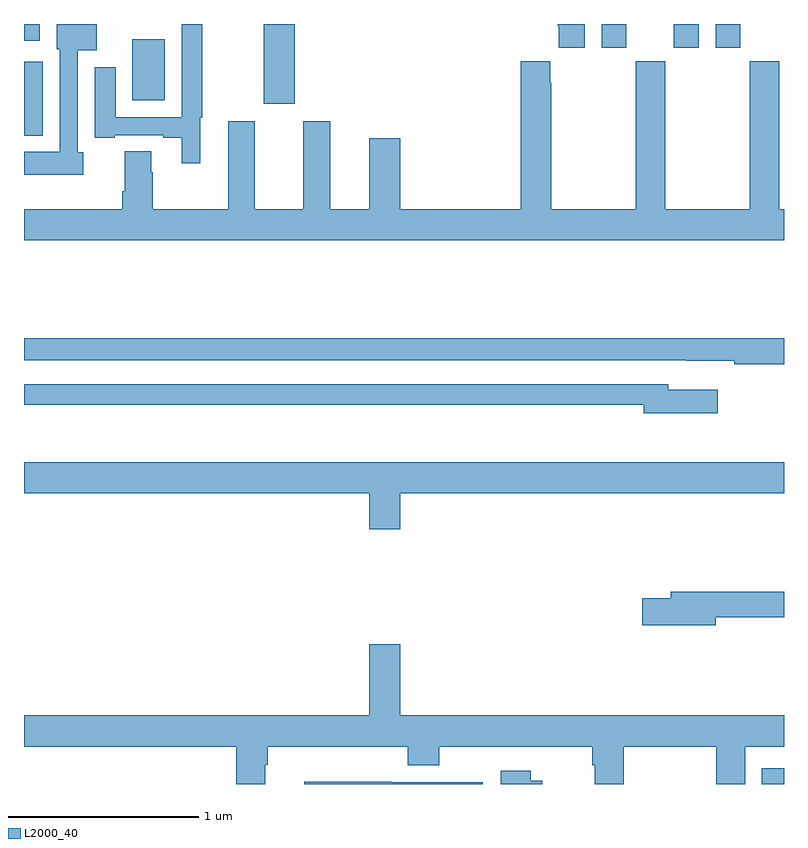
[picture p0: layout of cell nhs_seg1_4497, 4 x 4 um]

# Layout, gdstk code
import gdstk
lib = gdstk.Library(unit=1e-6, precision=1e-09)
def R(c, l, rs):  # rectangles x0, y0, x1, y1
    for r in rs: c.add(gdstk.rectangle(r[:2], r[2:], *l))
def P(c, l, *ps):  # polygons
    for p in ps: c.add(gdstk.Polygon(p, *l))
L2000_40 = (2000, 40)

nhs_seg1_4497 = lib.new_cell('nhs_seg1_4497')
R(nhs_seg1_4497, L2000_40, [(358.884,554.199,359,554.281), (355,557.612,355.099,558.001), (356.261,557.778,356.425,558.199), (355.571,557.798,355.741,558.118), (358.04,558.075,358.171,558.199), (358.421,558.075,358.552,558.199), (358.64,558.075,358.771,558.199), (355,558.111,355.084,558.199)])
P(nhs_seg1_4497, L2000_40, [(355.312,557.523),(355.284,557.523),(355.284,558.062),(355.384,558.062),(355.384,558.199),(355.172,558.199),(355.172,558.066),(355.188,558.066),(355.188,557.527),(355,557.527),(355,557.405),(355.312,557.405)],
  [(355.927,557.706),(355.939,557.706),(355.939,558.199),(355.83,558.199),(355.83,557.709),(355.483,557.709),(355.483,557.971),(355.373,557.971),(355.373,557.601),(355.477,557.601),(355.477,557.613),(355.733,557.613),(355.733,557.601),(355.829,557.601),(355.829,557.466),(355.927,557.466)],
  [(357.952,558.199),(357.809,558.199),(357.809,558.187),(357.815,558.187),(357.815,558.075),(357.952,558.075)],
  [(355.529,557.528),(355.529,557.32),(355.517,557.32),(355.517,557.224),(355,557.224),(355,557.06),(359,557.06),(359,557.224),(358.974,557.224),(358.974,558.004),(358.819,558.004),(358.819,557.224),(358.374,557.224),(358.374,558.004),(358.219,558.004),(358.219,557.224),(357.774,557.224),(357.774,557.891),(357.769,557.891),(357.769,558.004),(357.614,558.004),(357.614,557.224),(356.98,557.224),(356.98,557.599),(356.816,557.599),(356.816,557.224),(356.611,557.224),(356.611,557.686),(356.471,557.686),(356.471,557.224),(356.215,557.224),(356.215,557.686),(356.075,557.686),(356.075,557.224),(355.677,557.224),(355.677,557.42),(355.669,557.42),(355.669,557.528)],
  [(359,556.544),(355,556.544),(355,556.428),(358.486,556.428),(358.486,556.427),(358.738,556.427),(358.738,556.408),(359,556.408)],
  [(358.651,556.273),(358.39,556.273),(358.39,556.302),(355,556.302),(355,556.194),(358.262,556.194),(358.262,556.151),(358.651,556.151)],
  [(356.98,555.728),(359,555.728),(359,555.892),(355,555.892),(355,555.728),(356.816,555.728),(356.816,555.54),(356.98,555.54)],
  [(358.642,555.076),(359,555.076),(359,555.212),(358.403,555.212),(358.403,555.176),(358.254,555.176),(358.254,555.034),(358.642,555.034)],
  [(356.269,554.3),(356.282,554.3),(356.282,554.396),(357.02,554.396),(357.02,554.297),(357.185,554.297),(357.185,554.396),(357.992,554.396),(357.992,554.298),(358.004,554.298),(358.004,554.199),(358.157,554.199),(358.157,554.396),(358.643,554.396),(358.643,554.199),(358.795,554.199),(358.795,554.396),(359,554.396),(359,554.56),(356.98,554.56),(356.98,554.935),(356.816,554.935),(356.816,554.56),(355,554.56),(355,554.396),(356.117,554.396),(356.117,554.199),(356.269,554.199)],
  [(357.728,554.217),(357.666,554.217),(357.666,554.269),(357.51,554.269),(357.51,554.199),(357.728,554.199)],
  [(357.414,554.208),(356.936,554.208),(356.936,554.21),(356.474,554.21),(356.474,554.199),(357.414,554.199)])

lib.write_gds('nhs_seg1_4497.gds')
